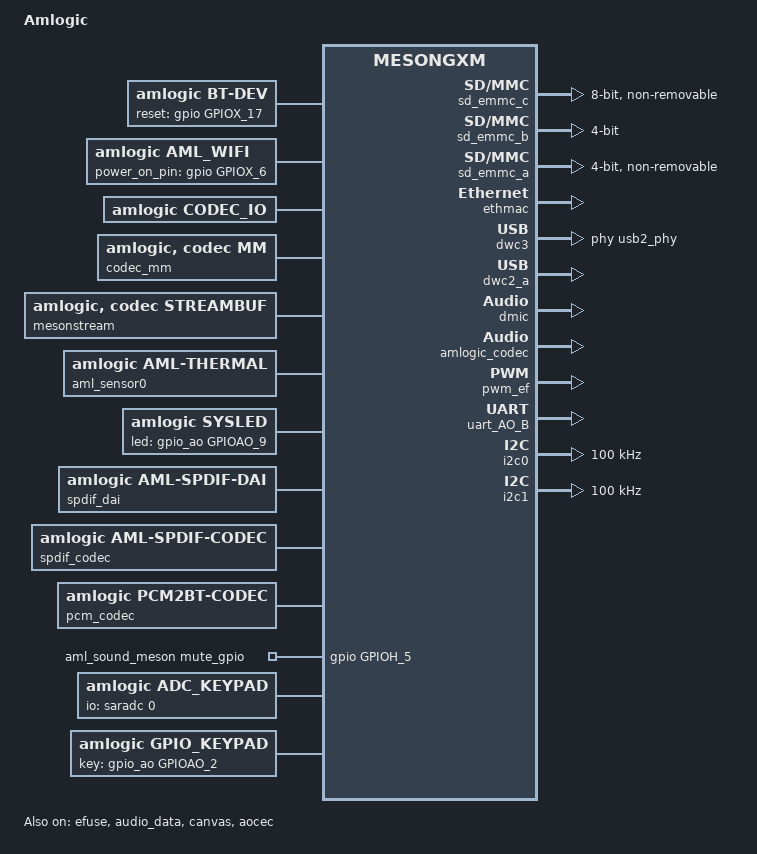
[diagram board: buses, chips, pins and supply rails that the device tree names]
/*
 * arch/arm64/boot/dts/amlogic/gt1_v30_2g.dts
 *
 * Device Tree Source for Beelink GT1 Classic (Board: GT-T_V30_20160831)
 * - SoC: Amlogic S912 (GXM) Octa-Core Cortex-A53 + Mali-T820MP3 (r28p0)
 * - RAM: 2GB DDR3 (MIRA P3P4GF4BLF)
 * - Storage: 16GB eMMC 5.0 (NCard) with GT1 V30 320MB-vendor partition layout
 * - Ethernet: Realtek RTL8211F External RGMII Gigabit PHY (internal_phy = <0>)
 * - Wi-Fi: Qualcomm QCA9377 SDIO (0271:0701) on sdio@d0070000 (PWR: GPIOX_6, IRQ: GPIOX_7)
 * - Bluetooth: Qualcomm QCA9377 Rome UART on /dev/ttyS1 (Reset: GPIOX_17)
 * - IR Remote: 5 custom maps including Beelink 0x7f80 (map_2)
 * - Power/Reset Key: GPIOAO_2 (gpio_keypad) + SARADC Home Key (adc_keypad)
 * - System LED: GPIOAO_9 active-low (sysled)
 *
 * Verified against live /sys/firmware/fdt (live_fdt.dts) from slimBOXtv ATV 9.6
 *
 * SPDX-License-Identifier: (GPL-2.0+ OR MIT)
 */

/dts-v1/;

#include "mesongxm.dtsi"

/ {
	model = "Amlogic";
	amlogic-dt-id = "gxm_q201_2g";
	compatible = "amlogic, Gxm";
	interrupt-parent = <&gic>;
	#address-cells = <2>;
	#size-cells = <2>;

	aliases {
		serial0 = &uart_AO;
		serial1 = &uart_A;
		serial2 = &uart_B;
		serial3 = &uart_C;
		serial4 = &uart_AO_B;
	};

	dummy-charger {
		status = "okay";
		compatible = "amlogic, dummy-charger";
	};

	dummy-battery {
		status = "okay";
		compatible = "amlogic, dummy-battery";
	};

	ion_dev {
		compatible = "amlogic, ion_dev";
		memory-region = <&ion_reserved>;
	};

	memory@00000000 {
		device_type = "memory";
		linux,usable-memory = <0x0 0x00100000 0x0 0x7ff00000>;
	};

	reserved-memory {
		#address-cells = <2>;
		#size-cells = <2>;
		ranges;

		ramoops@0x07400000 {
			compatible = "ramoops";
			reg = <0x0 0x07400000 0x0 0x00100000>;
			record-size = <0x8000>;
			console-size = <0x8000>;
			ftrace-size = <0x40000>;
		};

		secmon_reserved: linux,secmon {
			compatible = "shared-dma-pool";
			reusable;
			size = <0x0 0x00400000>;
			alignment = <0x0 0x00400000>;
			alloc-ranges = <0x0 0x05000000 0x0 0x00400000>;
		};

		secos_reserved: linux,secos {
			status = "disable";
			compatible = "amlogic, aml_secos_memory";
			reg = <0x0 0x05300000 0x0 0x02000000>;
			no-map;
		};

		logo_reserved: linux,meson-fb {
			compatible = "shared-dma-pool";
			reusable;
			size = <0x0 0x00800000>;
			alignment = <0x0 0x00400000>;
			alloc-ranges = <0x0 0x7f800000 0x0 0x00800000>;
		};

		ion_reserved: linux,ion-dev {
			compatible = "shared-dma-pool";
			reusable;
			size = <0x0 0x07c00000>;
			alignment = <0x0 0x00400000>;
		};

		di_cma_reserved: linux,di_cma {
			compatible = "shared-dma-pool";
			reusable;
			size = <0x0 0x02000000>;
			alignment = <0x0 0x00400000>;
		};

		vdin1_cma_reserved: linux,vdin1_cma {
			compatible = "shared-dma-pool";
			reusable;
			size = <0x0 0x01000000>;
			alignment = <0x0 0x00400000>;
		};

		ppmgr_reserved: linux,ppmgr {
			compatible = "shared-dma-pool";
			size = <0x0 0x0>;
		};

		codec_mm_cma: linux,codec_mm_cma {
			compatible = "shared-dma-pool";
			reusable;
			size = <0x0 0x13400000>;
			alignment = <0x0 0x00400000>;
			linux,contiguous-region;
		};

		picdec_cma_reserved: linux,picdec {
			compatible = "shared-dma-pool";
			reusable;
			size = <0x0 0x0>;
			alignment = <0x0 0x0>;
			linux,contiguous-region;
		};

		codec_mm_reserved: linux,codec_mm_reserved {
			compatible = "amlogic, codec-mm-reserved";
			size = <0x0 0x0>;
			alignment = <0x0 0x00100000>;
		};
	};

	/*
	 * Exact Partition Layout of Beelink GT1 Classic (GT-T_V30_20160831)
	 * Verified from /sys/firmware/fdt and /sys/block/mmcblk0/<partN>/size
	 */
	partitions: partitions {
		parts = <17>;
		part-0 = <&logo>;
		part-1 = <&recovery>;
		part-2 = <&misc>;
		part-3 = <&dtbo>;
		part-4 = <&cri_data>;
		part-5 = <&param>;
		part-6 = <&boot>;
		part-7 = <&rsv>;
		part-8 = <&metadata>;
		part-9 = <&vbmeta>;
		part-10 = <&tee>;
		part-11 = <&vendor>;
		part-12 = <&odm>;
		part-13 = <&system>;
		part-14 = <&product>;
		part-15 = <&cache>;
		part-16 = <&data>;

		logo: logo {
			pname = "logo";
			size = <0x0 0x00800000>;
			mask = <1>;
		};
		recovery: recovery {
			pname = "recovery";
			size = <0x0 0x01800000>;
			mask = <1>;
		};
		misc: misc {
			pname = "misc";
			size = <0x0 0x00800000>;
			mask = <1>;
		};
		dtbo: dtbo {
			pname = "dtbo";
			size = <0x0 0x00800000>;
			mask = <1>;
		};
		cri_data: cri_data {
			pname = "cri_data";
			size = <0x0 0x00800000>;
			mask = <2>;
		};
		param: param {
			pname = "param";
			size = <0x0 0x01000000>;
			mask = <2>;
		};
		boot: boot {
			pname = "boot";
			size = <0x0 0x01000000>;
			mask = <1>;
		};
		rsv: rsv {
			pname = "rsv";
			size = <0x0 0x01000000>;
			mask = <1>;
		};
		metadata: metadata {
			pname = "metadata";
			size = <0x0 0x01000000>;
			mask = <1>;
		};
		vbmeta: vbmeta {
			pname = "vbmeta";
			size = <0x0 0x00200000>;
			mask = <1>;
		};
		tee: tee {
			pname = "tee";
			size = <0x0 0x02000000>;
			mask = <1>;
		};
		vendor: vendor {
			pname = "vendor";
			size = <0x0 0x14000000>; /* 320 MiB (mmcblk0p16) */
			mask = <1>;
		};
		odm: odm {
			pname = "odm";
			size = <0x0 0x08000000>; /* 128 MiB (mmcblk0p17) */
			mask = <1>;
		};
		system: system {
			pname = "system";
			size = <0x0 0x50000000>; /* 1280 MiB (mmcblk0p18) */
			mask = <1>;
		};
		product: product {
			pname = "product";
			size = <0x0 0x08000000>; /* 128 MiB (mmcblk0p19) */
			mask = <1>;
		};
		cache: cache {
			pname = "cache";
			size = <0x0 0x46000000>; /* 1120 MiB (mmcblk0p3) */
			mask = <2>;
		};
		data: data {
			pname = "data";
			size = <0xffffffff 0xffffffff>; /* 11418 MiB (mmcblk0p20) */
			mask = <4>;
		};
	};

	firmware {
		android {
			compatible = "android,firmware";
			vbmeta {
				compatible = "android,vbmeta";
				parts = "vbmeta,boot,system,vendor";
				by_name_prefix = "/dev/block";
			};
			fstab {
				compatible = "android,fstab";
				vendor {
					compatible = "android,vendor";
					dev = "/dev/block/vendor";
					type = "ext4";
					mnt_flags = "ro,barrier=1,inode_readahead_blks=8";
					fsmgr_flags = "wait";
				};
				odm {
					compatible = "android,odm";
					dev = "/dev/block/odm";
					type = "ext4";
					mnt_flags = "ro,barrier=1,inode_readahead_blks=8";
					fsmgr_flags = "wait";
				};
				product {
					compatible = "android,product";
					dev = "/dev/block/product";
					type = "ext4";
					mnt_flags = "ro,barrier=1,inode_readahead_blks=8";
					fsmgr_flags = "wait";
				};
			};
		};
	};

	bt-dev {
		compatible = "amlogic, bt-dev";
		dev_name = "bt-dev";
		status = "okay";
		gpio_reset = <&gpio GPIOX_17 GPIO_ACTIVE_HIGH>;
	};

	wifi {
		compatible = "amlogic, aml_wifi";
		dev_name = "aml_wifi";
		status = "okay";
		interrupt_pin = <&gpio GPIOX_7 GPIO_ACTIVE_HIGH>;
		irq_trigger_type = "GPIO_IRQ_LOW";
		dhd_static_buf;
		power_on_pin = <&gpio GPIOX_6 GPIO_ACTIVE_HIGH>;
		pinctrl-names = "default";
		pinctrl-0 = <&wifi_32k_pins>;
		pwm_config = <&wifi_pwm_conf>;
	};

	wifi_pwm_conf: wifi_pwm_conf {
		pwm_channel1_conf {
			pwms = <&pwm_ef MESON_PWM_0 30541 0>;
			duty-cycle = <15270>;
			times = <8>;
		};
		pwm_channel2_conf {
			pwms = <&pwm_ef MESON_PWM_2 30500 0>;
			duty-cycle = <15250>;
			times = <12>;
		};
	};

	sd_emmc_c: emmc@d0074000 {
		status = "okay";
		compatible = "amlogic, meson-mmc-gxm";
		reg = <0x0 0xd0074000 0x0 0x2000>;
		interrupts = <0 218 1>;
		pinctrl-names = "emmc_clk_cmd_pins", "emmc_all_pins";
		pinctrl-0 = <&emmc_clk_cmd_pins>;
		pinctrl-1 = <&emmc_conf_pull_up &emmc_conf_pull_done>;
		clocks = <&clkc CLKID_SD_EMMC_C>,
			 <&clkc CLKID_SD_EMMC_C_P0_COMP>,
			 <&clkc CLKID_FCLK_DIV2>;
		clock-names = "core", "clkin0", "clkin1";

		bus-width = <8>;
		cap-sd-highspeed;
		cap-mmc-highspeed;
		mmc-ddr-1_8v;
		mmc-hs200-1_8v;

		max-frequency = <200000000>;
		non-removable;
		disable-wp;
		emmc {
			pinname = "emmc";
			ocr_avail = <0x200080>;
			caps = "MMC_CAP_8_BIT_DATA",
			       "MMC_CAP_MMC_HIGHSPEED",
			       "MMC_CAP_SD_HIGHSPEED",
			       "MMC_CAP_NONREMOVABLE",
			       "MMC_CAP_1_8V_DDR",
			       "MMC_CAP_HW_RESET",
			       "MMC_CAP_ERASE",
			       "MMC_CAP_CMD23";
			caps2 = "MMC_CAP2_HS200", "MMC_CAP2_HS400";
			f_min = <400000>;
			f_max = <100000000>;
			max_req_size = <0x20000>;
			gpio_dat3 = <&gpio BOOT_3 GPIO_ACTIVE_HIGH>;
			hw_reset = <&gpio BOOT_9 GPIO_ACTIVE_HIGH>;
			card_type = <1>;
		};
	};

	sd_emmc_b: sd@d0072000 {
		status = "okay";
		compatible = "amlogic, meson-mmc-gxm";
		reg = <0x0 0xd0072000 0x0 0x2000>;
		interrupts = <0 217 1>;
		pinctrl-names = "sd_all_pins",
			"sd_clk_cmd_pins",
			"sd_1bit_pins",
			"sd_clk_cmd_uart_pins",
			"sd_1bit_uart_pins",
			"sd_to_ao_uart_pins",
			"ao_to_sd_uart_pins",
			"ao_to_sd_jtag_pins",
			"sd_to_ao_jtag_pins";
		pinctrl-0 = <&sd_all_pins>;
		pinctrl-1 = <&sd_clk_cmd_pins>;
		pinctrl-2 = <&sd_1bit_pins>;
		pinctrl-3 = <&sd_to_ao_uart_clr_pins &sd_clk_cmd_pins &ao_to_sd_uart_pins>;
		pinctrl-4 = <&sd_to_ao_uart_clr_pins &sd_1bit_pins &ao_to_sd_uart_pins>;
		pinctrl-5 = <&sd_all_pins &sd_to_ao_uart_pins>;
		pinctrl-6 = <&sd_to_ao_uart_clr_pins &ao_to_sd_uart_pins>;
		pinctrl-7 = <&sd_to_ao_uart_clr_pins &ao_to_sd_uart_pins>;
		pinctrl-8 = <&sd_all_pins &sd_to_ao_uart_pins>;
		clocks = <&clkc CLKID_SD_EMMC_B>,
			 <&clkc CLKID_SD_EMMC_B_P0_COMP>,
			 <&clkc CLKID_FCLK_DIV2>;
		clock-names = "core", "clkin0", "clkin1";

		bus-width = <4>;
		cap-sd-highspeed;
		max-frequency = <100000000>;
		disable-wp;
		sd {
			pinname = "sd";
			ocr_avail = <0x200080>;
			caps = "MMC_CAP_4_BIT_DATA",
			       "MMC_CAP_MMC_HIGHSPEED",
			       "MMC_CAP_SD_HIGHSPEED";
			f_min = <400000>;
			f_max = <100000000>;
			max_req_size = <0x20000>;
			gpio_dat3 = <&gpio CARD_4 GPIO_ACTIVE_HIGH>;
			jtag_pin = <&gpio CARD_0 GPIO_ACTIVE_HIGH>;
			gpio_cd = <&gpio CARD_6 GPIO_ACTIVE_HIGH>;
			card_type = <5>;
		};
	};

	sd_emmc_a: sdio@d0070000 {
		status = "okay";
		compatible = "amlogic, meson-mmc-gxm";
		reg = <0x0 0xd0070000 0x0 0x2000>;
		interrupts = <0 216 4>;
		pinctrl-names = "sdio_clk_cmd_pins", "sdio_all_pins";
		pinctrl-0 = <&sdio_clk_cmd_pins>;
		pinctrl-1 = <&sdio_all_pins>;
		clocks = <&clkc CLKID_SD_EMMC_A>,
			 <&clkc CLKID_SD_EMMC_A_P0_COMP>,
			 <&clkc CLKID_FCLK_DIV2>;
		clock-names = "core", "clkin0", "clkin1";

		bus-width = <4>;
		cap-sd-highspeed;
		cap-mmc-highspeed;
		max-frequency = <100000000>;
		non-removable;
		disable-wp;
		sdio {
			pinname = "sdio";
			ocr_avail = <0x200080>;
			caps = "MMC_CAP_4_BIT_DATA",
			       "MMC_CAP_MMC_HIGHSPEED",
			       "MMC_CAP_SD_HIGHSPEED",
			       "MMC_CAP_NONREMOVABLE",
			       "MMC_CAP_UHS_SDR12",
			       "MMC_CAP_UHS_SDR25",
			       "MMC_CAP_UHS_SDR50",
			       "MMC_CAP_UHS_SDR104",
			       "MMC_PM_KEEP_POWER",
			       "MMC_CAP_SDIO_IRQ";
			f_min = <400000>;
			f_max = <200000000>;
			max_req_size = <0x20000>;
			card_type = <3>;
		};
	};

	/*
	 * Realtek RTL8211F Gigabit Ethernet (External RGMII PHY)
	 * Verified from live_fdt.dts: internal_phy = <0>, mc_val_external_phy = <0x1621>
	 */
	ethmac: ethernet@0xc9410000 {
		compatible = "amlogic, gxbb-eth-dwmac";
		reg = <0x0 0xc9410000 0x0 0x10000
		       0x0 0xc8834540 0x0 0x8
		       0x0 0xc8834558 0x0 0xc>;
		interrupts = <0 8 1>;
		pinctrl-names = "external_eth_pins";
		pinctrl-0 = <&external_eth_pins>;
		mc_val_internal_phy = <0x1800>;
		mc_val_external_phy = <0x1621>;
		cali_val = <0x20000>;
		interrupt-names = "macirq";
		clocks = <&clkc CLKID_ETH>;
		clock-names = "ethclk81";
		internal_phy = <0>;
	};

	codec_io {
		compatible = "amlogic, codec_io";
		#address-cells = <2>;
		#size-cells = <2>;
		ranges;
		io_cbus_base {
			reg = <0x0 0xc1100000 0x0 0x100000>;
		};
		io_dos_base {
			reg = <0x0 0xc8820000 0x0 0x10000>;
		};
		io_hiubus_base {
			reg = <0x0 0xc883c000 0x0 0x2000>;
		};
		io_aobus_base {
			reg = <0x0 0xc8100000 0x0 0x100000>;
		};
		io_vcbus_base {
			reg = <0x0 0xd0100000 0x0 0x40000>;
		};
		io_dmc_base {
			reg = <0x0 0xc8838000 0x0 0x400>;
		};
	};

	codec_mm {
		compatible = "amlogic, codec, mm";
		memory-region = <&codec_mm_cma &codec_mm_reserved>;
		dev_name = "codec_mm";
		status = "okay";
	};

	canvas {
		compatible = "amlogic, meson, canvas";
		dev_name = "amlogic-canvas";
		status = "ok";
		reg = <0x0 0xc8838000 0x0 0x400>;
	};

	mesonstream {
		compatible = "amlogic, codec, streambuf";
		dev_name = "mesonstream";
		status = "okay";
		clocks = <&clkc CLKID_DOS_PARSER
			  &clkc CLKID_DEMUX
			  &clkc CLKID_DOS
			  &clkc CLKID_VDEC_MUX
			  &clkc CLKID_HCODEC_MUX
			  &clkc CLKID_HEVC_MUX>;
		clock-names = "parser_top",
			"demux",
			"vdec",
			"clk_vdec_mux",
			"clk_hcodec_mux",
			"clk_hevc_mux";
	};

	vdec {
		compatible = "amlogic, vdec";
		dev_name = "vdec.0";
		status = "okay";
		interrupts = <0 3 1
			      0 23 1
			      0 32 1
			      0 43 1
			      0 44 1
			      0 45 1>;
		interrupt-names = "vsync",
			"demux",
			"parser",
			"mailbox_0",
			"mailbox_1",
			"mailbox_2";
	};

	aml_sensor0: aml-sensor@0 {
		compatible = "amlogic, aml-thermal";
		device_name = "thermal";
		#thermal-sensor-cells = <1>;
		cooling_devices {
			cpufreq_cool_cluster0 {
				min_state = <1000000>;
				dyn_coeff = <140>;
				cluster_id = <0>;
				node_name = "cpufreq_cool0";
				device_type = "cpufreq";
			};
			cpufreq_cool_cluster1 {
				min_state = <500000>;
				dyn_coeff = <140>;
				cluster_id = <1>;
				node_name = "cpufreq_cool1";
				device_type = "cpufreq";
			};
			cpucore_cool_cluster0 {
				min_state = <1>;
				dyn_coeff = <0>;
				cluster_id = <0>;
				node_name = "cpucore_cool0";
				device_type = "cpucore";
			};
			cpucore_cool_cluster1 {
				min_state = <1>;
				dyn_coeff = <0>;
				cluster_id = <1>;
				node_name = "cpucore_cool1";
				device_type = "cpucore";
			};
			gpufreq_cool {
				min_state = <400>;
				dyn_coeff = <437>;
				cluster_id = <0>;
				node_name = "t82x";
				device_type = "gpufreq";
			};
			gpucore_cool {
				min_state = <1>;
				dyn_coeff = <0>;
				cluster_id = <0>;
				node_name = "gpucore_cool0";
				device_type = "gpucore";
			};
		};
		cpufreq_cool0: cpufreq_cool0 {
			#cooling-cells = <2>;
		};
		cpufreq_cool1: cpufreq_cool1 {
			#cooling-cells = <2>;
		};
		cpucore_cool0: cpucore_cool0 {
			#cooling-cells = <2>;
		};
		cpucore_cool1: cpucore_cool1 {
			#cooling-cells = <2>;
		};
		gpucore_cool0: gpucore_cool0 {
			#cooling-cells = <2>;
		};
	};

	thermal-zones {
		soc_thermal {
			polling-delay = <1000>;
			polling-delay-passive = <100>;
			sustainable-power = <2450>;
			thermal-sensors = <&aml_sensor0 3>;

			trips {
				switch_on: trip-point@0 {
					temperature = <70000>;
					hysteresis = <1000>;
					type = "passive";
				};
				control: trip-point@1 {
					temperature = <80000>;
					hysteresis = <1000>;
					type = "passive";
				};
				hot: trip-point@2 {
					temperature = <85000>;
					hysteresis = <5000>;
					type = "hot";
				};
				critical: trip-point@3 {
					temperature = <260000>;
					hysteresis = <1000>;
					type = "critical";
				};
			};

			cooling-maps {
				cpufreq_cooling_map0 {
					trip = <&control>;
					cooling-device = <&cpufreq_cool0 0 4>;
					contribution = <1024>;
				};
				cpufreq_cooling_map1 {
					trip = <&control>;
					cooling-device = <&cpufreq_cool1 0 4>;
					contribution = <1024>;
				};
				cpucore_cooling_map0 {
					trip = <&control>;
					cooling-device = <&cpucore_cool0 0 3>;
					contribution = <1024>;
				};
				cpucore_cooling_map1 {
					trip = <&control>;
					cooling-device = <&cpucore_cool1 0 3>;
					contribution = <1024>;
				};
				gpufreq_cooling_map {
					trip = <&control>;
					cooling-device = <&t82x_gpu 0 4>;
					contribution = <1024>;
				};
				gpucore_cooling_map {
					trip = <&control>;
					cooling-device = <&gpucore_cool0 0 2>;
					contribution = <1024>;
				};
			};
		};
	};

	dwc3: dwc3@c9000000 {
		compatible = "synopsys, dwc3";
		reg = <0x0 0xc9000000 0x0 0x100000>;
		interrupts = <0 30 4>;
		usb-phy = <&usb2_phy>, <&usb3_phy>;
		cpu-type = "gxl";
		clock-src = "usb3.0";
	};

	usb2_phy: usb2phy@d0078000 {
		compatible = "amlogic, amlogic-new-usb2";
		portnum = <3>;
		reg = <0x0 0xd0078000 0x0 0x80
		       0x0 0xc1104408 0x0 0x4>;
	};

	usb3_phy: usb3phy@d0078080 {
		compatible = "amlogic, amlogic-new-usb3";
		portnum = <0>;
		reg = <0x0 0xd0078080 0x0 0x20>;
	};

	dwc2_a {
		compatible = "amlogic, dwc2";
		device_name = "dwc2_a";
		reg = <0x0 0xc9100000 0x0 0x40000>;
		status = "okay";
		interrupts = <0 31 4>;
		pl-periph-id = <0>;
		clock-src = "usb0";
		port-id = <0>;
		port-type = <2>;
		port-speed = <0>;
		port-config = <0>;
		port-dma = <0>;
		port-id-mode = <0>;
		usb-fifo = <728>;
		cpu-type = "gxl";
		controller-type = <1>;
		phy-reg = <0xd0078000>;
		phy-reg-size = <0xa0>;
		clocks = <&clkc CLKID_USB_GENERAL
			  &clkc CLKID_USB1_TO_DDR
			  &clkc CLKID_USB1>;
		clock-names = "usb_general",
			"usb1",
			"usb1_to_ddr";
	};

	meson-amvideom {
		compatible = "amlogic, amvideom";
		dev_name = "amvideom";
		status = "okay";
		interrupts = <0 3 1>;
		interrupt-names = "vsync";
	};

	vout {
		compatible = "amlogic, vout";
		dev_name = "vout";
		status = "okay";
		fr_auto_policy = <0>;
	};

	cvbsout {
		compatible = "amlogic, cvbsout-gxm";
		dev_name = "cvbsout";
		status = "okay";
		clocks = <&clkc CLKID_VCLK2_ENCI
			  &clkc CLKID_VCLK2_VENCI0
			  &clkc CLKID_VCLK2_VENCI1
			  &clkc CLKID_DAC_CLK>;
		clock-names = "venci_top_gate",
			"venci_0_gate",
			"venci_1_gate",
			"vdac_clk_gate";
		performance = <0x1bf0 0x9
			       0x1b56 0x343
			       0x1b12 0x8080
			       0x1b05 0xfd
			       0x1c59 0xf752
			       0xffff 0x0>;
	};

	amhdmitx: amhdmitx {
		compatible = "amlogic, amhdmitx";
		dev_name = "amhdmitx";
		status = "okay";
		vend-data = <&vend_data>;
		pinctrl-names = "hdmitx_hpd", "hdmitx_ddc";
		pinctrl-0 = <&hdmitx_hpd>;
		pinctrl-1 = <&hdmitx_ddc>;
		interrupts = <0 57 1>;
		interrupt-names = "hdmitx_hpd";
		ic_type = <4>;
		vend_data: vend_data {
			vendor_name = "Amlogic";
			vendor_id = <0x000000>;
			product_desc = "MBox Meson Ref";
		};
	};

	aocec: aocec {
		compatible = "amlogic, amlogic-aocec";
		device_name = "aocec";
		status = "okay";
		vendor_id = <0x000000>;
		cec_osd_string = "MBox";
		cec_version = <5>;
		port_num = <1>;
		arc_port_mask = <0x0>;
		interrupts = <0 199 1>;
		interrupt-names = "hdmi_aocec";
		pinctrl-names = "default";
		pinctrl-0 = <&hdmitx_aocec>;
		reg = <0x0 0xc810023c 0x0 0x4
		       0x0 0xc8100000 0x0 0x200>;
		reg-names = "ao_exit", "ao";
	};

	sysled {
		compatible = "amlogic, sysled";
		dev_name = "sysled";
		status = "okay";
		led_gpio = <&gpio_ao GPIOAO_9 GPIO_ACTIVE_HIGH>;
		led_active_low = <1>;
	};

	meson-fb {
		compatible = "amlogic, meson-gxm";
		memory-region = <&logo_reserved>;
		dev_name = "meson-fb";
		status = "okay";
		interrupts = <0 3 1
			      0 89 1>;
		interrupt-names = "viu-vsync", "rdma";
		mem_size = <0x00800000 0x01851000 0x00100000>;
		display_mode_default = "1080p60hz";
		scale_mode = <1>;
		display_size_default = <1920 1080 1920 3240 32>;
		logo_addr = "0x7f800000";
	};

	ge2d {
		compatible = "amlogic, ge2d-gxm";
		dev_name = "ge2d";
		status = "okay";
		interrupts = <0 150 1>;
		interrupt-names = "ge2d";
		clocks = <&clkc CLKID_VAPB_MUX>,
			 <&clkc CLKID_G2D>,
			 <&clkc CLKID_GE2D_GATE>;
		clock-names = "clk_vapb_0",
			"clk_ge2d",
			"clk_ge2d_gate";
	};

	/* AUDIO MESON DEVICES */
	i2s_dai: I2S {
		#sound-dai-cells = <0>;
		compatible = "amlogic, aml-i2s-dai";
		clocks =
			<&clkc CLKID_MPLL2>,
			<&clkc CLKID_AMCLK_COMP>,
			<&clkc CLKID_AIU_GLUE>,
			<&clkc CLKID_IEC958>,
			<&clkc CLKID_I2S_OUT>,
			<&clkc CLKID_AMCLK>,
			<&clkc CLKID_AIFIFO2>,
			<&clkc CLKID_MIXER>,
			<&clkc CLKID_MIXER_IFACE>,
			<&clkc CLKID_ADC>,
			<&clkc CLKID_AIU_TOP>,
			<&clkc CLKID_AOCLK_GATE>,
			<&clkc CLKID_I2S_SPDIF>;
		clock-names =
			"mpll",
			"mclk",
			"top_glue",
			"aud_buf",
			"i2s_out",
			"amclk_measure",
			"aififo2",
			"aud_mixer",
			"mixer_reg",
			"adc",
			"top_level",
			"aoclk",
			"aud_in";
		i2s_pos_sync = <0>;
	};

	dmic: snd_dmic {
		#sound-dai-cells = <0>;
		compatible = "aml, aml_snd_dmic";
		reg = <0x0 0xd0042000 0x0 0x2000>;
		status = "okay";
		resets = <&clkc CLKID_PDM_GATE>;
		reset-names = "pdm";
		pinctrl-names = "audio_dmic";
		pinctrl-0 = <&aml_dmic_pins>;
		clocks = <&clkc CLKID_PDM_COMP>,
			 <&clkc CLKID_AMCLK_COMP>;
		clock-names = "pdm", "mclk";
	};

	spdif_dai: SPDIF {
		#sound-dai-cells = <0>;
		compatible = "amlogic, aml-spdif-dai";
		clocks =
			<&clkc CLKID_MPLL1>,
			<&clkc CLKID_I958_COMP>,
			<&clkc CLKID_AMCLK_COMP>,
			<&clkc CLKID_I958_COMP_SPDIF>,
			<&clkc CLKID_CLK81>,
			<&clkc CLKID_IEC958>,
			<&clkc CLKID_IEC958_GATE>;
		clock-names =
			"mpll1",
			"i958",
			"mclk",
			"spdif",
			"clk_81",
			"iec958",
			"iec958_amclk";
	};

	pcm_dai: PCM {
		#sound-dai-cells = <0>;
		compatible = "amlogic, aml-pcm-dai";
		pinctrl-names = "audio_pcm";
		pinctrl-0 = <&audio_pcm_pins>;
		clocks =
			<&clkc CLKID_MPLL0>,
			<&clkc CLKID_PCM_MCLK_COMP>,
			<&clkc CLKID_PCM_SCLK_GATE>;
		clock-names =
			"mpll0",
			"pcm_mclk",
			"pcm_sclk";
		pcm_mode = <1>;
	};

	i2s_plat: i2s_platform {
		compatible = "amlogic, aml-i2s";
		interrupts = <0 29 1>;
	};

	pcm_plat: pcm_platform {
		compatible = "amlogic, aml-pcm";
	};

	spdif_codec: spdif_codec {
		#sound-dai-cells = <0>;
		compatible = "amlogic, aml-spdif-codec";
		pinctrl-names = "audio_spdif_out";
		pinctrl-0 = <&audio_spdif_pins>;
	};

	pcm_codec: pcm_codec {
		#sound-dai-cells = <0>;
		compatible = "amlogic, pcm2BT-codec";
	};

	dummy_codec: dummy {
		#sound-dai-cells = <0>;
		compatible = "amlogic, aml_dummy_codec";
		status = "disable";
	};

	amlogic_codec: t9015 {
		#sound-dai-cells = <0>;
		compatible = "amlogic, aml_codec_T9015";
		reg = <0x0 0xc8832000 0x0 0x14>;
		status = "okay";
	};

	aml_sound_meson {
		compatible = "aml, meson-snd-card";
		status = "okay";
		aml-sound-card,format = "i2s";
		aml_sound_card,name = "AML-MESONAUDIO";
		aml,audio-routing =
			"Ext Spk", "LOUTL",
			"Ext Spk", "LOUTR";
		mute_gpio-gpios = <&gpio GPIOH_5 0>;
		mute_inv;
		hp_disable;
		hp_paraments = <800 300 0 5 1>;
		pinctrl-names = "audio_i2s";
		pinctrl-0 = <&audio_i2s_pins>;
		cpu_list = <&cpudai0 &cpudai1 &cpudai2>;
		codec_list = <&codec0 &codec1 &codec2>;
		plat_list = <&i2s_plat &i2s_plat &pcm_plat>;
		cpudai0: cpudai0 {
			sound-dai = <&i2s_dai>;
		};
		cpudai1: cpudai1 {
			sound-dai = <&spdif_dai>;
		};
		cpudai2: cpudai2 {
			sound-dai = <&pcm_dai>;
		};
		codec0: codec0 {
			sound-dai = <&amlogic_codec>;
		};
		codec1: codec1 {
			sound-dai = <&spdif_codec>;
		};
		codec2: codec2 {
			sound-dai = <&pcm_codec>;
		};
	};

	rdma {
		compatible = "amlogic, meson, rdma";
		dev_name = "amlogic-rdma";
		status = "ok";
		interrupts = <0 89 1>;
		interrupt-names = "rdma";
	};

	amvenc_avc {
		compatible = "amlogic, amvenc_avc";
		dev_name = "amvenc_avc";
		status = "okay";
		interrupts = <0 45 1>;
		interrupt-names = "mailbox_2";
	};

	hevc_enc {
		compatible = "cnm, HevcEnc";
		dev_name = "HevcEnc";
		status = "okay";
		interrupts = <0 187 1>;
		interrupt-names = "wave420l_irq";
		#address-cells = <2>;
		#size-cells = <2>;
		ranges;
		io_reg_base {
			reg = <0x0 0xc8810000 0x0 0x4000>;
		};
	};

	picdec {
		compatible = "amlogic, picdec";
		memory-region = <&picdec_cma_reserved>;
		dev_name = "picdec";
		status = "okay";
	};

	ppmgr {
		compatible = "amlogic, ppmgr";
		memory-region = <&ppmgr_reserved>;
		dev_name = "ppmgr";
		status = "okay";
	};

	deinterlace {
		compatible = "amlogic, deinterlace";
		status = "okay";
		flag_cma = <1>;
		memory-region = <&di_cma_reserved>;
		interrupts = <0 46 1 0 6 1>;
		interrupt-names = "de_irq", "timerc";
		buffer-size = <3133440>;
		hw-version = <2>;
	};

	ionvideo {
		compatible = "amlogic, ionvideo";
		dev_name = "ionvideo";
		status = "okay";
	};

	amlvideo {
		compatible = "amlogic, amlvideo";
		dev_name = "amlvideo";
		status = "okay";
	};

	amlvideo2_0 {
		compatible = "amlogic, amlvideo2";
		dev_name = "amlvideo2";
		status = "okay";
		amlvideo2_id = <0>;
		cma_mode = <1>;
	};

	amlvideo2_1 {
		compatible = "amlogic, amlvideo2";
		dev_name = "amlvideo2";
		status = "okay";
		amlvideo2_id = <1>;
		cma_mode = <1>;
	};

	vdin0 {
		compatible = "amlogic, vdin";
		dev_name = "vdin0";
		status = "ok";
		reserve-iomap = "true";
		flag_cma = <1>;
		cma_size = <16>;
		interrupts = <0 83 1>;
		rdma-irq = <2>;
		vdin_id = <0>;
		tv_bit_mode = <1>;
	};

	vdin1 {
		compatible = "amlogic, vdin";
		memory-region = <&vdin1_cma_reserved>;
		dev_name = "vdin1";
		status = "ok";
		reserve-iomap = "true";
		flag_cma = <0>;
		interrupts = <0 85 1>;
		rdma-irq = <4>;
		vdin_id = <1>;
		tv_bit_mode = <1>;
	};

	amlvecm {
		compatible = "amlogic, vecm";
		dev_name = "aml_vecm";
		status = "okay";
		gamma_en = <0>;
		wb_en = <0>;
		cm_en = <0>;
		cfg_en_osd_100 = <1>;
		tx_op_color_primary = <0>;
	};

	amdolby_vision {
		compatible = "amlogic, dolby_vision_gxm";
		dev_name = "aml_amdolby_vision_driver";
		status = "okay";
		tv_mode = <0>;
	};

	adc_keypad {
		compatible = "amlogic, adc_keypad";
		status = "okay";
		key_name = "home";
		key_num = <1>;
		io-channels = <&saradc 0>;
		io-channel-names = "key-chan-0";
		key_chan = <0 0 0>;
		key_code = <102>;
		key_val = <108>;
		key_tolerance = <40>;
	};

	unifykey {
		compatible = "amlogic, unifykey";
		status = "ok";
		unifykey-num = <17>;
		unifykey-index-0 = <&keysn_0>;
		unifykey-index-1 = <&keysn_1>;
		unifykey-index-2 = <&keysn_2>;
		unifykey-index-3 = <&keysn_3>;
		unifykey-index-4 = <&keysn_4>;
		unifykey-index-5 = <&keysn_5>;
		unifykey-index-6 = <&keysn_6>;
		unifykey-index-7 = <&keysn_7>;
		unifykey-index-8 = <&keysn_8>;
		unifykey-index-9 = <&keysn_9>;
		unifykey-index-10 = <&keysn_10>;
		unifykey-index-11 = <&keysn_11>;
		unifykey-index-12 = <&keysn_12>;
		unifykey-index-13 = <&keysn_13>;
		unifykey-index-14 = <&keysn_14>;
		unifykey-index-15 = <&keysn_15>;
		unifykey-index-16 = <&keysn_16>;

		keysn_0: key_0 {
			key-name = "usid";
			key-device = "normal";
			key-permit = "read", "write", "del";
		};
		keysn_1: key_1 {
			key-name = "mac";
			key-device = "normal";
			key-permit = "read", "write", "del";
		};
		keysn_2: key_2 {
			key-name = "hdcp";
			key-device = "secure";
			key-type = "sha1";
			key-permit = "read", "write", "del";
		};
		keysn_3: key_3 {
			key-name = "secure_boot_set";
			key-device = "efuse";
			key-permit = "write";
		};
		keysn_4: key_4 {
			key-name = "mac_bt";
			key-device = "normal";
			key-permit = "read", "write", "del";
			key-type = "mac";
		};
		keysn_5: key_5 {
			key-name = "mac_wifi";
			key-device = "normal";
			key-permit = "read", "write", "del";
			key-type = "mac";
		};
		keysn_6: key_6 {
			key-name = "hdcp2_tx";
			key-device = "normal";
			key-permit = "read", "write", "del";
		};
		keysn_7: key_7 {
			key-name = "hdcp2_rx";
			key-device = "normal";
			key-permit = "read", "write", "del";
		};
		keysn_8: key_8 {
			key-name = "widevinekeybox";
			key-device = "secure";
			key-permit = "read", "write", "del";
		};
		keysn_9: key_9 {
			key-name = "deviceid";
			key-device = "normal";
			key-permit = "read", "write", "del";
		};
		keysn_10: key_10 {
			key-name = "hdcp22_fw_private";
			key-device = "secure";
			key-permit = "read", "write", "del";
		};
		keysn_11: key_11 {
			key-name = "PlayReadykeybox25";
			key-device = "secure";
			key-permit = "read", "write", "del";
		};
		keysn_12: key_12 {
			key-name = "prpubkeybox";
			key-device = "secure";
			key-permit = "read", "write", "del";
		};
		keysn_13: key_13 {
			key-name = "prprivkeybox";
			key-device = "secure";
			key-permit = "read", "write", "del";
		};
		keysn_14: key_14 {
			key-name = "attestationkeybox";
			key-device = "secure";
			key-permit = "read", "write", "del";
		};
		keysn_15: key_15 {
			key-name = "region_code";
			key-device = "normal";
			key-permit = "read", "write", "del";
		};
		keysn_16: key_16 {
			key-name = "netflix_mgkid";
			key-device = "secure";
			key-permit = "read", "write", "del";
		};
	};

	gpio_keypad {
		compatible = "amlogic, gpio_keypad";
		status = "okay";
		scan_period = <20>;
		key_num = <1>;
		key_name = "power";
		key_code = <116>;
		key-gpios = <&gpio_ao GPIOAO_2 GPIO_ACTIVE_HIGH>;
		detect_mode = <0>;
	};
};

/*
 * IR Remote Custom Keymaps (5 maps verified from live_fdt.dts):
 * - map_0: 0xff00
 * - map_1: 0x4040
 * - map_2: 0x7f80 (Beelink Official Remote)
 * - map_3: 0xfe01
 * - map_4: 0xef10
 */
&custom_maps {
	mapnum = <5>;
	map0 = <&map_0>;
	map1 = <&map_1>;
	map2 = <&map_2>;
	map3 = <&map_3>;
	map4 = <&map_4>;

	map_0: map_0 {
		mapname = "amlogic-remote-1";
		customcode = <0xff00>;
		release_delay = <80>;
		size = <27>;
		keymap = <0x590074 0x190071 0x130073 0x170072 0x8007a 0xb007b 0x180046
			  0xd0066 0x5009e 0x60067 0x5a0069 0x1a0061 0x1b006a 0x16006c
			  0x45007d 0x520002 0x500003 0x100004 0x560005 0x540006 0x140007
			  0x4e0008 0x4c0009 0xc000a 0xf000b 0x22007f 0x51000e>;
	};

	map_1: map_1 {
		mapname = "amlogic-remote-2";
		customcode = <0x4040>;
		release_delay = <80>;
		fn_key_scancode = <0x47>;
		fn_key_scancode_other = <0x46>;
		cursor_left_scancode = <0x10>;
		cursor_right_scancode = <0x11>;
		cursor_up_scancode = <0x0b>;
		cursor_down_scancode = <0x0e>;
		cursor_ok_scancode = <0x0d>;
		size = <23>;
		keymap = <0xb0067 0xe006c 0x100069 0x11006a 0xd0061 0x4d0074 0x1a0066
			  0x42009e 0x180073 0x170072 0x430071 0xc000e 0x10002 0x20003
			  0x30004 0x40005 0x50006 0x60007 0x70008 0x80009 0x9000a
			  0x0000b 0x4500d9>;
	};

	map_2: map_2 {
		mapname = "amlogic-remote-3";
		customcode = <0x7f80>;
		release_delay = <80>;
		size = <25>;
		keymap = <0x260067 0x28006c 0x250069 0x27006a 0xd0061 0x510074 0x530066
			  0x1b009e 0x4e0073 0x560072 0x4d0071 0x44000e 0x310002 0x320003
			  0x330004 0x340005 0x350006 0x360007 0x370008 0x380009 0x39000a
			  0x30000b 0xbb00a3 0xbd00a5 0x49007f>;
	};

	map_3: map_3 {
		mapname = "amlogic-remote-4";
		customcode = <0xfe01>;
		release_delay = <80>;
		size = <29>;
		keymap = <0x160067 0x1a006c 0x510069 0x50006a 0x130061 0x400074 0x110066
			  0x19009e 0x180073 0x100072 0x410071 0x42000e 0x4e0002 0xd0003
			  0xc0004 0x4a0005 0x90006 0x80007 0x460008 0x50009 0xb04000a
			  0x1000b 0x5a00a3 0x5400a5 0x520080 0x5a00a4 0xf0244 0x43008d
			  0x4c007f>;
	};

	map_4: map_4 {
		mapname = "amlogic-remote-5";
		customcode = <0xef10>;
		release_delay = <80>;
		size = <27>;
		keymap = <0x5d0074 0x170073 0x130072 0x5100d9 0x14004c 0x15004d 0x5900a4
			  0x0009e 0x450067 0x55006c 0x70069 0x1006a 0x410061 0x460066
			  0x5008b 0x5f0096 0x4f000b 0x5e000e 0x500002 0x520003 0x100004
			  0x4c0005 0x4a0006 0x110007 0xf0008 0x4e0009 0xd000a>;
	};
};

&efuse {
	status = "ok";
};

&pwm_ef {
	status = "okay";
};

&audio_data {
	status = "okay";
};

&uart_AO_B {
	status = "okay";
};

&i2c0 {
	status = "okay";
	pinctrl-names = "default";
	pinctrl-0 = <&a_i2c_master>;
	clock-frequency = <100000>;
};

&i2c1 {
	status = "okay";
	pinctrl-names = "default";
	pinctrl-0 = <&b_i2c_master>;
	clock-frequency = <100000>;
};
